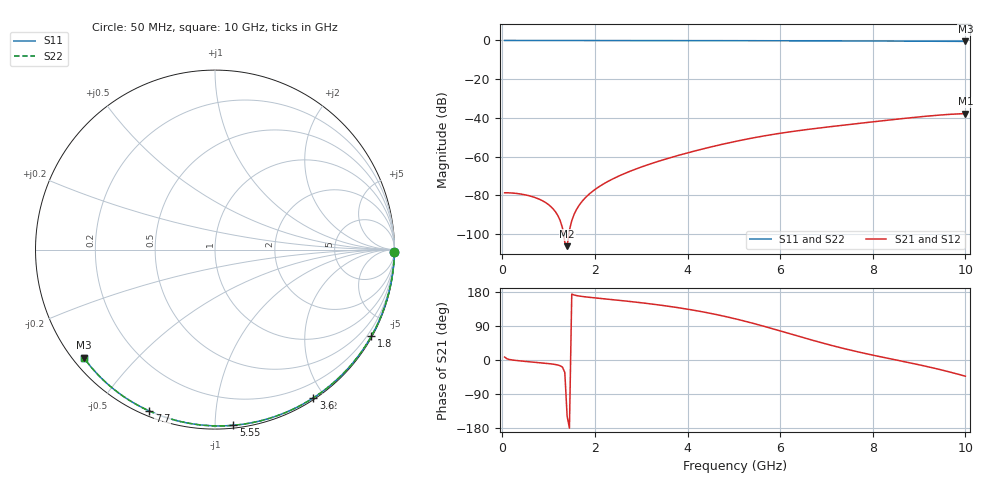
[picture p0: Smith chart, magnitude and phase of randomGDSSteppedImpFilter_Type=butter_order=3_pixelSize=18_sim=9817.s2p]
! freq	dB(S11)	phase(S11)	dB(S12)	phase(S12)
!  dB(S21)	phase(S21)	dB(S22)	phase(S22)
!S-par simulation data
#  GHz  S  DB  R 50
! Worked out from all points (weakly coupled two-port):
!   200 points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, 50 MHz to 10 GHz, reference 50 ohm
!   highest |S21| = -37.78 dB at 10 GHz (marker M1); lowest = -106.3 dB at 1.4 GHz (marker M2)
!   lowest |S11| = -0.5 dB at 10 GHz (marker M3), VSWR 36.66, Z = 1.54 - j18 ohm
!   |S11| at or under -10 dB: nowhere
!   |S22| runs from -0.5 to 0.0 dB; largest |S21 - S12| = 0
!   S11 on the Smith chart (normalised r, x): 50 MHz: open; 1.8 GHz: 0.03, -3.88; 3.6 GHz: 0.02, -1.86; 5.55 GHz: 0.02, -1.11; 7.7 GHz: 0.02, -0.67; 10 GHz: 0.03, -0.36
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0.05  -0.00 -0.8  -78.70 7.8  -78.70 7.8  -0.00 -0.8
0.3  -0.01 -4.9  -79.00 -1.3  -79.00 -1.3  -0.01 -4.9
0.55  -0.01 -9.0  -80.03 -4.2  -80.03 -4.2  -0.01 -9.0
1.4  -0.03 -22.6  -106.25 -148.4  -106.25 -148.4  -0.03 -22.6
1.75  -0.04 -28.1  -82.36 167.2  -82.36 167.2  -0.04 -28.1
1.8  -0.04 -28.9  -81.08 166.5  -81.08 166.5  -0.04 -28.9
1.85  -0.04 -29.7  -79.93 165.8  -79.93 165.8  -0.04 -29.7
2  -0.04 -32.0  -77.00 163.9  -77.00 163.9  -0.04 -32.0
2.15  -0.04 -34.4  -74.62 162.0  -74.62 162.0  -0.04 -34.4
2.5  -0.05 -39.8  -70.21 157.7  -70.21 157.7  -0.05 -39.8
2.9  -0.06 -45.9  -66.26 152.5  -66.26 152.5  -0.06 -45.9
3.4  -0.07 -53.4  -62.20 145.0  -62.20 145.0  -0.07 -53.4
3.6  -0.08 -56.4  -60.75 141.6  -60.75 141.6  -0.08 -56.4
4.3  -0.10 -66.6  -56.20 127.7  -56.20 127.7  -0.10 -66.6
5.05  -0.12 -77.2  -52.07 108.1  -52.07 108.1  -0.12 -77.2
5.55  -0.14 -84.0  -49.74 92.4  -49.74 92.4  -0.14 -84.0
6.1  -0.16 -91.4  -47.58 73.2  -47.58 73.2  -0.16 -91.4
6.7  -0.19 -99.3  -45.64 52.1  -45.64 52.1  -0.19 -99.3
7.7  -0.26 -112.1  -42.85 20.9  -42.85 20.9  -0.26 -112.1
8.35  -0.31 -120.2  -41.11 3.9  -41.11 3.9  -0.31 -120.2
9.35  -0.40 -132.5  -38.72 -22.3  -38.72 -22.3  -0.40 -132.5
10  -0.47 -140.5  -37.78 -42.7  -37.78 -42.7  -0.47 -140.5
